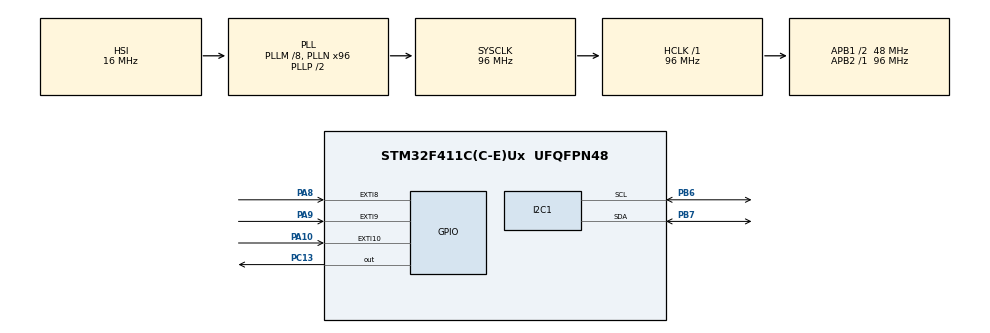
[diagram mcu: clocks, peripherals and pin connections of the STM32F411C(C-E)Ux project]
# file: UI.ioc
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I2C1.I2C_Mode=I2C_Fast
Mcu.Family=STM32F4
Mcu.Name=STM32F411C(C-E)Ux
Mcu.Package=UFQFPN48
NVIC.EXTI15_10_IRQn=true\:0\:0\:false\:false\:true\:true\:true\:true
NVIC.EXTI9_5_IRQn=true\:0\:0\:false\:false\:true\:true\:true\:true
NVIC.PriorityGroup=NVIC_PRIORITYGROUP_4
PA10.GPIO_ModeDefaultEXTI=GPIO_MODE_IT_FALLING
PA10.GPIO_PuPd=GPIO_PULLUP
PA10.Signal=GPXTI10
PA8.GPIO_ModeDefaultEXTI=GPIO_MODE_IT_FALLING
PA8.GPIO_PuPd=GPIO_PULLUP
PA8.Signal=GPXTI8
PA9.GPIO_ModeDefaultEXTI=GPIO_MODE_IT_FALLING
PA9.GPIO_PuPd=GPIO_PULLUP
PA9.Signal=GPXTI9
PB6.Mode=I2C
PB6.Signal=I2C1_SCL
PB7.Mode=I2C
PB7.Signal=I2C1_SDA
PC13-ANTI_TAMP.Signal=GPIO_Output
PH0\ -\ OSC_IN.Mode=HSE-External-Oscillator
PH0\ -\ OSC_IN.Signal=RCC_OSC_IN
PH1\ -\ OSC_OUT.Mode=HSE-External-Oscillator
PH1\ -\ OSC_OUT.Signal=RCC_OSC_OUT
ProjectManager.HeapSize=0x200
ProjectManager.StackSize=0x400
ProjectManager.TargetToolchain=STM32CubeIDE
RCC.48MHZClocksFreq_Value=48000000
RCC.AHBFreq_Value=96000000
RCC.APB1CLKDivider=RCC_HCLK_DIV2
RCC.APB1Freq_Value=48000000
RCC.APB1TimFreq_Value=96000000
RCC.APB2Freq_Value=96000000
RCC.APB2TimFreq_Value=96000000
RCC.CortexFreq_Value=96000000
RCC.HCLKFreq_Value=96000000
RCC.HSE_VALUE=25000000
RCC.HSI_VALUE=16000000
RCC.LSE_VALUE=32768
RCC.PLLM=8
RCC.PLLN=96
RCC.SYSCLKFreq_VALUE=96000000
RCC.SYSCLKSource=RCC_SYSCLKSOURCE_PLLCLK
RCC.VCOOutputFreq_Value=192000000
board=custom

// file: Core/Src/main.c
/* USER CODE BEGIN Header */
/**
 ******************************************************************************
 * @file           : main.c
 * @brief          : Main program body
 ******************************************************************************
 * @attention
 *
 * Copyright (c) 2024 STMicroelectronics.
 * All rights reserved.
 *
 * This software is licensed under terms that can be found in the LICENSE file
 * in the root directory of this software component.
 * If no LICENSE file comes with this software, it is provided AS-IS.
 *
 ******************************************************************************
 */
/* USER CODE END Header */
#include "main.h"

/* USER CODE BEGIN Includes */
#include "ssd1306_fonts.h"
#include "ssd1306.h"
#include "stdbool.h"
#include "stdio.h"
#include "string.h"

/* USER CODE END Includes */

I2C_HandleTypeDef hi2c1;

/* USER CODE BEGIN PV */
int8_t xIncrement = 0;
int8_t yIncrement = 0;

int8_t xIndex = 0;
int8_t yIndex = 0;

/* USER CODE END PV */

void SystemClock_Config(void);
static void MX_GPIO_Init(void);
static void MX_I2C1_Init(void);

/* USER CODE BEGIN 0 */
// A utility function to reverse a string
void reverse(char str[], int length) {
	int start = 0;
	int end = length - 1;
	while (start < end) {
		char temp = str[start];
		str[start] = str[end];
		str[end] = temp;
		end--;
		start++;
	}
}
// Implementation of citoa()
char* citoa(int num, char *str, int base) {
	int i = 0;
	bool isNegative = false;

	/* Handle 0 explicitly, otherwise empty string is
	 * printed for 0 */
	if (num == 0) {
		str[i++] = '0';
		str[i] = '\0';
		return str;
	}

	// In standard itoa(), negative numbers are handled
	// only with base 10. Otherwise numbers are
	// considered unsigned.
	if (num < 0 && base == 10) {
		isNegative = true;
		num = -num;
	}

	// Process individual digits
	while (num != 0) {
		int rem = num % base;
		str[i++] = (rem > 9) ? (rem - 10) + 'a' : rem + '0';
		num = num / base;
	}

	// If number is negative, append '-'
	if (isNegative)
		str[i++] = '-';

	str[i] = '\0'; // Append string terminator

	// Reverse the string
	reverse(str, i);

	return str;
}

/* USER CODE END 0 */

int main(void) {

	/* MCU Configuration--------------------------------------------------------*/

	/* Reset of all peripherals, Initializes the Flash interface and the Systick. */
	HAL_Init();

	/* Configure the system clock */
	SystemClock_Config();

	/* Initialize all configured peripherals */
	MX_GPIO_Init();
	MX_I2C1_Init();
	/* USER CODE BEGIN 2 */
	char message[32];
	char row0[10][8][32] = { { "Real-Time Data", "Forecast", "Debug",
			"Manual Control", "\0" }, { "Soil Moisture", "Temperature",
			"Humidity", "Rain", "Light", "\0" }, { "Temperature", "Humidity",
			"Precipitation", "Cloud Cover", "Soil Moisture", "\0" }, {
			"Sync Time", "Core Temp", "Core Voltage", "\0" } };

	for (uint8_t i = 0; i < 8; i++) {
		strcpy(row0[5][i], "Temperature");
	}
	for (uint8_t i = 0; i < 8; i++) {
		strcpy(row0[6][i], "Humidity");
	}
	for (uint8_t i = 0; i < 8; i++) {
		strcpy(row0[7][i], "Precipitation");
	}
	for (uint8_t i = 0; i < 8; i++) {
		strcpy(row0[8][i], "Cloud Cover");
	}
	for (uint8_t i = 0; i < 8; i++) {
		strcpy(row0[9][i], "Soil Moisture");
	}

	char row1[10][8][32] = { { "\0" }, { "%d", "%dC", "%d%%", "%d", "%d", "\0" },
			{ "\0" }, { "\0", "%dC", "%dV", "\0" } };

	for (uint8_t i = 0; i < 8; i++) {
		strcpy(row1[5][i], "%dC");
	}
	for (uint8_t i = 0; i < 8; i++) {
		strcpy(row1[6][i], "%d%%");
	}
	for (uint8_t i = 0; i < 8; i++) {
		strcpy(row1[7][i], "%dmm(%d%%)");
	}
	for (uint8_t i = 0; i < 8; i++) {
		strcpy(row1[8][i], "%d%%");
	}
	for (uint8_t i = 0; i < 8; i++) {
		strcpy(row1[9][i], "%d");
	}

	char row2[8][8] = { "0000", "0100", "0200", "0300", "0400", "0500", "0600",
			"0700" };

	ssd1306_Init();
	/* USER CODE END 2 */

	/* Infinite loop */
	/* USER CODE BEGIN WHILE */
	while (1) {
		if (xIncrement != 0) {
			xIndex += xIncrement;
			xIncrement = 0;

			if (row0[yIndex][xIndex][0] == '\0') {
				xIndex--;
			}

			if (yIndex > 3 && xIndex > 7) {
				xIndex--;
			}

			if (xIndex < 0) {
				xIndex = 0;
			}

			HAL_Delay(50);
		}

		if (yIncrement != 0) {
			yIndex += yIncrement;

			if (row0[yIndex][xIndex][0] == '\0') {
				yIndex -= yIncrement;
			} else {
				xIndex = 0;
			}

			yIncrement = 0;

			if (yIndex < 0) {
				yIndex = 0;
			}

			HAL_Delay(50);
		}

		ssd1306_Fill(Black);
		ssd1306_SetCursor(0, 0);
		sprintf(message, "%s", row0[yIndex][xIndex]);
		ssd1306_WriteString(message, Font_7x10, White);

		ssd1306_SetCursor(0, 20);
		sprintf(message, row1[yIndex][xIndex], 0, 0);
		ssd1306_WriteString(message, Font_11x18, White);

		if (yIndex > 4) {
			ssd1306_SetCursor(0, 50);
			sprintf(message, "%s", row2[xIndex]);
			ssd1306_WriteString(message, Font_7x10, White);
		}

		ssd1306_UpdateScreen();

		HAL_Delay(500);
		/* USER CODE END WHILE */

	}
}

void SystemClock_Config(void) {
	RCC_OscInitTypeDef RCC_OscInitStruct = { 0 };
	RCC_ClkInitTypeDef RCC_ClkInitStruct = { 0 };

	/** Configure the main internal regulator output voltage
	 */
	__HAL_RCC_PWR_CLK_ENABLE();
	__HAL_PWR_VOLTAGESCALING_CONFIG(PWR_REGULATOR_VOLTAGE_SCALE1);

	/** Initializes the RCC Oscillators according to the specified parameters
	 * in the RCC_OscInitTypeDef structure.
	 */
	RCC_OscInitStruct.OscillatorType = RCC_OSCILLATORTYPE_HSI;
	RCC_OscInitStruct.HSIState = RCC_HSI_ON;
	RCC_OscInitStruct.HSICalibrationValue = RCC_HSICALIBRATION_DEFAULT;
	RCC_OscInitStruct.PLL.PLLState = RCC_PLL_ON;
	RCC_OscInitStruct.PLL.PLLSource = RCC_PLLSOURCE_HSI;
	RCC_OscInitStruct.PLL.PLLM = 8;
	RCC_OscInitStruct.PLL.PLLN = 96;
	RCC_OscInitStruct.PLL.PLLP = RCC_PLLP_DIV2;
	RCC_OscInitStruct.PLL.PLLQ = 4;
	if (HAL_RCC_OscConfig(&RCC_OscInitStruct) != HAL_OK) {
		Error_Handler();
	}

	/** Initializes the CPU, AHB and APB buses clocks
	 */
	RCC_ClkInitStruct.ClockType = RCC_CLOCKTYPE_HCLK | RCC_CLOCKTYPE_SYSCLK
			| RCC_CLOCKTYPE_PCLK1 | RCC_CLOCKTYPE_PCLK2;
	RCC_ClkInitStruct.SYSCLKSource = RCC_SYSCLKSOURCE_PLLCLK;
	RCC_ClkInitStruct.AHBCLKDivider = RCC_SYSCLK_DIV1;
	RCC_ClkInitStruct.APB1CLKDivider = RCC_HCLK_DIV2;
	RCC_ClkInitStruct.APB2CLKDivider = RCC_HCLK_DIV1;

	if (HAL_RCC_ClockConfig(&RCC_ClkInitStruct, FLASH_LATENCY_3) != HAL_OK) {
		Error_Handler();
	}
}

static void MX_I2C1_Init(void) {

	hi2c1.Instance = I2C1;
	hi2c1.Init.ClockSpeed = 400000;
	hi2c1.Init.DutyCycle = I2C_DUTYCYCLE_2;
	hi2c1.Init.OwnAddress1 = 0;
	hi2c1.Init.AddressingMode = I2C_ADDRESSINGMODE_7BIT;
	hi2c1.Init.DualAddressMode = I2C_DUALADDRESS_DISABLE;
	hi2c1.Init.OwnAddress2 = 0;
	hi2c1.Init.GeneralCallMode = I2C_GENERALCALL_DISABLE;
	hi2c1.Init.NoStretchMode = I2C_NOSTRETCH_DISABLE;
	if (HAL_I2C_Init(&hi2c1) != HAL_OK) {
		Error_Handler();
	}

}

static void MX_GPIO_Init(void) {
	GPIO_InitTypeDef GPIO_InitStruct = { 0 };

	/* GPIO Ports Clock Enable */
	__HAL_RCC_GPIOC_CLK_ENABLE();
	__HAL_RCC_GPIOH_CLK_ENABLE();
	__HAL_RCC_GPIOA_CLK_ENABLE();
	__HAL_RCC_GPIOB_CLK_ENABLE();

	/*Configure GPIO pin Output Level */
	HAL_GPIO_WritePin(GPIOC, GPIO_PIN_13, GPIO_PIN_RESET);

	/*Configure GPIO pin : PC13 */
	GPIO_InitStruct.Pin = GPIO_PIN_13;
	GPIO_InitStruct.Mode = GPIO_MODE_OUTPUT_PP;
	GPIO_InitStruct.Pull = GPIO_NOPULL;
	GPIO_InitStruct.Speed = GPIO_SPEED_FREQ_LOW;
	HAL_GPIO_Init(GPIOC, &GPIO_InitStruct);

	/*Configure GPIO pins : PA8 PA9 PA10 */
	GPIO_InitStruct.Pin = GPIO_PIN_8 | GPIO_PIN_9 | GPIO_PIN_10;
	GPIO_InitStruct.Mode = GPIO_MODE_IT_FALLING;
	GPIO_InitStruct.Pull = GPIO_PULLUP;
	HAL_GPIO_Init(GPIOA, &GPIO_InitStruct);

	/* EXTI interrupt init*/
	HAL_NVIC_SetPriority(EXTI9_5_IRQn, 0, 0);
	HAL_NVIC_EnableIRQ(EXTI9_5_IRQn);

	HAL_NVIC_SetPriority(EXTI15_10_IRQn, 0, 0);
	HAL_NVIC_EnableIRQ(EXTI15_10_IRQn);

}

/* USER CODE BEGIN 4 */
void HAL_GPIO_EXTI_Callback(uint16_t GPIO_Pin) {
	if (GPIO_Pin == GPIO_PIN_8) {
		xIncrement = -1;
	} else if (GPIO_Pin == GPIO_PIN_9) {
		if (yIndex == 0) {
			yIncrement = xIndex + 1;
		} else if (yIndex == 2) {
			yIncrement = xIndex + 2;
		}

	} else if (GPIO_Pin == GPIO_PIN_10) {
		xIncrement = 1;
	}
}

/* USER CODE END 4 */

void Error_Handler(void) {
	__disable_irq();
	while (1) {
	}
}
